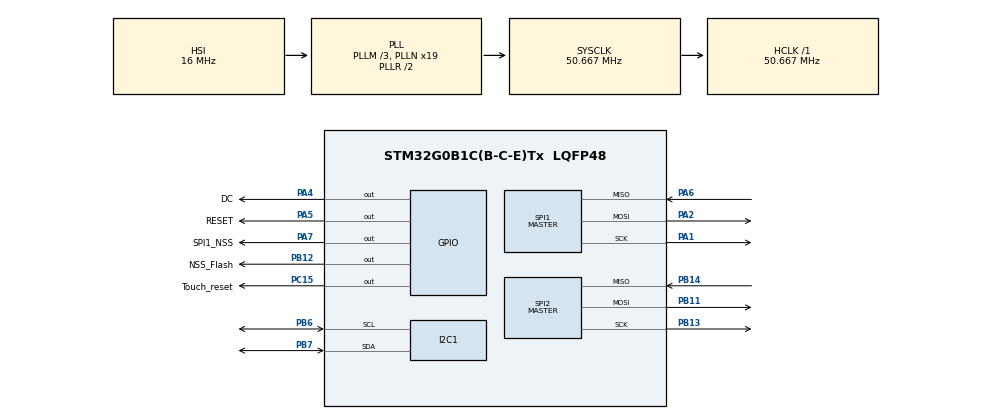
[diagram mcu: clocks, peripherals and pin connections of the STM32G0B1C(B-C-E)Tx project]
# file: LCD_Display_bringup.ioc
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Dma.Request0=SPI1_TX
Dma.SPI1_TX.0.Direction=DMA_MEMORY_TO_PERIPH
Dma.SPI1_TX.0.EventEnable=DISABLE
Dma.SPI1_TX.0.Instance=DMA2_Channel2
Dma.SPI1_TX.0.MemDataAlignment=DMA_MDATAALIGN_BYTE
Dma.SPI1_TX.0.MemInc=DMA_MINC_ENABLE
Dma.SPI1_TX.0.Mode=DMA_NORMAL
Dma.SPI1_TX.0.PeriphDataAlignment=DMA_PDATAALIGN_BYTE
Dma.SPI1_TX.0.PeriphInc=DMA_PINC_DISABLE
Dma.SPI1_TX.0.Polarity=HAL_DMAMUX_REQ_GEN_RISING
Dma.SPI1_TX.0.Priority=DMA_PRIORITY_MEDIUM
Dma.SPI1_TX.0.RequestNumber=1
Dma.SPI1_TX.0.SignalID=NONE
Dma.SPI1_TX.0.SyncEnable=DISABLE
Dma.SPI1_TX.0.SyncPolarity=HAL_DMAMUX_SYNC_NO_EVENT
Dma.SPI1_TX.0.SyncRequestNumber=1
Dma.SPI1_TX.0.SyncSignalID=NONE
I2C1.Timing=0x1080638F
Mcu.Family=STM32G0
Mcu.Name=STM32G0B1C(B-C-E)Tx
Mcu.Package=LQFP48
NVIC.DMA1_Ch4_7_DMA2_Ch1_5_DMAMUX1_OVR_IRQn=true\:0\:0\:false\:false\:true\:false\:true\:true
NVIC.SPI1_IRQn=true\:0\:0\:false\:false\:true\:true\:true\:true
NVIC.TIM2_IRQn=true\:0\:0\:false\:false\:true\:true\:true\:true
PA1.GPIO_Speed=GPIO_SPEED_FREQ_VERY_HIGH
PA1.Mode=Full_Duplex_Master
PA1.Signal=SPI1_SCK
PA2.GPIO_Speed=GPIO_SPEED_FREQ_VERY_HIGH
PA2.Mode=Full_Duplex_Master
PA2.Signal=SPI1_MOSI
PA4.GPIO_Label=DC
PA4.GPIO_Speed=GPIO_SPEED_FREQ_VERY_HIGH
PA4.Signal=GPIO_Output
PA5.GPIO_Label=RESET
PA5.GPIO_Speed=GPIO_SPEED_FREQ_VERY_HIGH
PA5.Signal=GPIO_Output
PA6.GPIO_Speed=GPIO_SPEED_FREQ_VERY_HIGH
PA6.Mode=Full_Duplex_Master
PA6.Signal=SPI1_MISO
PA7.GPIO_Label=SPI1_NSS
PA7.GPIO_Speed=GPIO_SPEED_FREQ_VERY_HIGH
PA7.PinState=GPIO_PIN_SET
PA7.Signal=GPIO_Output
PB11.Mode=Full_Duplex_Master
PB11.Signal=SPI2_MOSI
PB12.GPIO_Label=NSS_Flash
PB12.Signal=GPIO_Output
PB13.Mode=Full_Duplex_Master
PB13.Signal=SPI2_SCK
PB14.Mode=Full_Duplex_Master
PB14.Signal=SPI2_MISO
PB6.Mode=I2C
PB6.Signal=I2C1_SCL
PB7.Mode=I2C
PB7.Signal=I2C1_SDA
PC15-OSC32_OUT\ (PC15).GPIO_Label=Touch_reset
PC15-OSC32_OUT\ (PC15).Signal=GPIO_Output
ProjectManager.HeapSize=0x200
ProjectManager.StackSize=0x400
ProjectManager.TargetToolchain=STM32CubeIDE
RCC.ADCFreq_Value=50666666.666666664
RCC.AHBFreq_Value=50666666.666666664
RCC.CortexFreq_Value=50666666.666666664
RCC.EXTERNAL_CLOCK_VALUE=48000
RCC.HCLKFreq_Value=50666666.666666664
RCC.HSE_VALUE=8000000
RCC.HSI48_VALUE=48000000
RCC.HSI_VALUE=16000000
RCC.LSE_VALUE=32768
RCC.PLLM=RCC_PLLM_DIV3
RCC.PLLN=19
RCC.SYSCLKFreq_VALUE=50666666.666666664
RCC.SYSCLKSource=RCC_SYSCLKSOURCE_PLLCLK
RCC.USBFreq_Value=48000000
RCC.VCOOutputFreq_Value=101333333.33333333
SPI1.BaudRatePrescaler=SPI_BAUDRATEPRESCALER_4
SPI1.CalculateBaudRate=12.666666 MBits/s
SPI1.DataSize=SPI_DATASIZE_8BIT
SPI1.Direction=SPI_DIRECTION_2LINES
SPI1.Mode=SPI_MODE_MASTER
SPI1.VirtualType=VM_MASTER
SPI2.BaudRatePrescaler=SPI_BAUDRATEPRESCALER_4
SPI2.CalculateBaudRate=12.666666 MBits/s
SPI2.DataSize=SPI_DATASIZE_8BIT
SPI2.Direction=SPI_DIRECTION_2LINES
SPI2.Mode=SPI_MODE_MASTER
SPI2.VirtualType=VM_MASTER
STMicroelectronics.X-CUBE-TOUCHGFX.4.26.0.ApplicationCcGraphicsJjApplication=TouchGFXOoGenerator
STMicroelectronics.X-CUBE-TOUCHGFX.4.26.0.tgfx_buffering_strategy=Partial
STMicroelectronics.X-CUBE-TOUCHGFX.4.26.0.tgfx_custom_height=240
STMicroelectronics.X-CUBE-TOUCHGFX.4.26.0.tgfx_custom_width=320
STMicroelectronics.X-CUBE-TOUCHGFX.4.26.0.tgfx_datareader=Enabled
STMicroelectronics.X-CUBE-TOUCHGFX.4.26.0.tgfx_datareader_mem_size=2097152
STMicroelectronics.X-CUBE-TOUCHGFX.4.26.0_IsPackSelfContextualization=true
TIM2.Period=125000-1
TIM2.Prescaler=50-1
VP_CRC_VS_CRC.Mode=CRC_Activate
VP_STMicroelectronics.X-CUBE-TOUCHGFX_VS_GraphicsJjApplication_4.26.0.Mode=GraphicsJjApplication
VP_SYS_VS_DBSignals.Mode=DisableDeadBatterySignals
VP_TIM2_VS_ClockSourceINT.Mode=Internal
board=custom

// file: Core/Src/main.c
/* USER CODE BEGIN Header */
/**
  ******************************************************************************
  * @file           : main.c
  * @brief          : Main program body
  ******************************************************************************
  * @attention
  *
  * Copyright (c) 2025 STMicroelectronics.
  * All rights reserved.
  *
  * This software is licensed under terms that can be found in the LICENSE file
  * in the root directory of this software component.
  * If no LICENSE file comes with this software, it is provided AS-IS.
  *
  ******************************************************************************
  */
/* USER CODE END Header */
#include "main.h"
#include "app_touchgfx.h"

/* USER CODE BEGIN Includes */
#include "ili9341.h"
#include "ft6x06.h"
#include "w25q128.h"
#include "serial_data.h"
#include <stdlib.h>
/* USER CODE END Includes */

CRC_HandleTypeDef hcrc;

I2C_HandleTypeDef hi2c1;

SPI_HandleTypeDef hspi1;
SPI_HandleTypeDef hspi2;
DMA_HandleTypeDef hdma_spi1_tx;

TIM_HandleTypeDef htim2;

void SystemClock_Config(void);
static void MX_GPIO_Init(void);
static void MX_DMA_Init(void);
static void MX_SPI1_Init(void);
static void MX_CRC_Init(void);
static void MX_TIM2_Init(void);
static void MX_I2C1_Init(void);
static void MX_SPI2_Init(void);

/* USER CODE BEGIN 0 */
volatile serialData_t serialData;
volatile bool data_ready;
volatile bool data_reading;
static void mockUartData();
static float randFloat(float min, float max) {
    float scale = rand() / (float) RAND_MAX;   // 0.0 → 1.0
    return min + scale * (max - min);
}
/* USER CODE END 0 */

int main(void)
{

  /* MCU Configuration--------------------------------------------------------*/

  /* Reset of all peripherals, Initializes the Flash interface and the Systick. */
  HAL_Init();

  /* Configure the system clock */
  SystemClock_Config();

  /* Initialize all configured peripherals */
  MX_GPIO_Init();
  MX_DMA_Init();
  MX_SPI1_Init();
  MX_CRC_Init();
  MX_TIM2_Init();
  MX_I2C1_Init();
  MX_SPI2_Init();
  MX_TouchGFX_Init();
  /* USER CODE BEGIN 2 */
  HAL_TIM_Base_Start_IT(&htim2);
  ILI9341_Init();
  ft6x06_Init(0x70); // 0x30 >> 1 = 0x70
  ft6x06_TS_Start(0x70);
  W25Q_Reset();
  uint32_t ID = W25Q_ReadID();
  uint8_t tx[10] = "Hello";
  uint8_t rx[256] = "";
 // W25Q_Erase_Sector (0);
 // W25Q_Write_Page (0, 0, sizeof(tx), tx);
  W25Q_Read (2, 0, 256, rx);

  /* USER CODE END 2 */

  /* Infinite loop */
  while (1)
  {

  MX_TouchGFX_Process();
  }
}

void SystemClock_Config(void)
{
  RCC_OscInitTypeDef RCC_OscInitStruct = {0};
  RCC_ClkInitTypeDef RCC_ClkInitStruct = {0};

  /** Configure the main internal regulator output voltage
  */
  HAL_PWREx_ControlVoltageScaling(PWR_REGULATOR_VOLTAGE_SCALE1);

  /** Initializes the RCC Oscillators according to the specified parameters
  * in the RCC_OscInitTypeDef structure.
  */
  RCC_OscInitStruct.OscillatorType = RCC_OSCILLATORTYPE_HSI;
  RCC_OscInitStruct.HSIState = RCC_HSI_ON;
  RCC_OscInitStruct.HSIDiv = RCC_HSI_DIV1;
  RCC_OscInitStruct.HSICalibrationValue = RCC_HSICALIBRATION_DEFAULT;
  RCC_OscInitStruct.PLL.PLLState = RCC_PLL_ON;
  RCC_OscInitStruct.PLL.PLLSource = RCC_PLLSOURCE_HSI;
  RCC_OscInitStruct.PLL.PLLM = RCC_PLLM_DIV3;
  RCC_OscInitStruct.PLL.PLLN = 19;
  RCC_OscInitStruct.PLL.PLLP = RCC_PLLP_DIV2;
  RCC_OscInitStruct.PLL.PLLQ = RCC_PLLQ_DIV2;
  RCC_OscInitStruct.PLL.PLLR = RCC_PLLR_DIV2;
  if (HAL_RCC_OscConfig(&RCC_OscInitStruct) != HAL_OK)
  {
    Error_Handler();
  }

  /** Initializes the CPU, AHB and APB buses clocks
  */
  RCC_ClkInitStruct.ClockType = RCC_CLOCKTYPE_HCLK|RCC_CLOCKTYPE_SYSCLK
                              |RCC_CLOCKTYPE_PCLK1;
  RCC_ClkInitStruct.SYSCLKSource = RCC_SYSCLKSOURCE_PLLCLK;
  RCC_ClkInitStruct.AHBCLKDivider = RCC_SYSCLK_DIV1;
  RCC_ClkInitStruct.APB1CLKDivider = RCC_HCLK_DIV1;

  if (HAL_RCC_ClockConfig(&RCC_ClkInitStruct, FLASH_LATENCY_2) != HAL_OK)
  {
    Error_Handler();
  }
}

static void MX_CRC_Init(void)
{

  hcrc.Instance = CRC;
  hcrc.Init.DefaultPolynomialUse = DEFAULT_POLYNOMIAL_ENABLE;
  hcrc.Init.DefaultInitValueUse = DEFAULT_INIT_VALUE_ENABLE;
  hcrc.Init.InputDataInversionMode = CRC_INPUTDATA_INVERSION_NONE;
  hcrc.Init.OutputDataInversionMode = CRC_OUTPUTDATA_INVERSION_DISABLE;
  hcrc.InputDataFormat = CRC_INPUTDATA_FORMAT_BYTES;
  if (HAL_CRC_Init(&hcrc) != HAL_OK)
  {
    Error_Handler();
  }

}

static void MX_I2C1_Init(void)
{

  hi2c1.Instance = I2C1;
  hi2c1.Init.Timing = 0x1080638F;
  hi2c1.Init.OwnAddress1 = 0;
  hi2c1.Init.AddressingMode = I2C_ADDRESSINGMODE_7BIT;
  hi2c1.Init.DualAddressMode = I2C_DUALADDRESS_DISABLE;
  hi2c1.Init.OwnAddress2 = 0;
  hi2c1.Init.OwnAddress2Masks = I2C_OA2_NOMASK;
  hi2c1.Init.GeneralCallMode = I2C_GENERALCALL_DISABLE;
  hi2c1.Init.NoStretchMode = I2C_NOSTRETCH_DISABLE;
  if (HAL_I2C_Init(&hi2c1) != HAL_OK)
  {
    Error_Handler();
  }

  /** Configure Analogue filter
  */
  if (HAL_I2CEx_ConfigAnalogFilter(&hi2c1, I2C_ANALOGFILTER_ENABLE) != HAL_OK)
  {
    Error_Handler();
  }

  /** Configure Digital filter
  */
  if (HAL_I2CEx_ConfigDigitalFilter(&hi2c1, 0) != HAL_OK)
  {
    Error_Handler();
  }

}

static void MX_SPI1_Init(void)
{

  /* SPI1 parameter configuration*/
  hspi1.Instance = SPI1;
  hspi1.Init.Mode = SPI_MODE_MASTER;
  hspi1.Init.Direction = SPI_DIRECTION_2LINES;
  hspi1.Init.DataSize = SPI_DATASIZE_8BIT;
  hspi1.Init.CLKPolarity = SPI_POLARITY_LOW;
  hspi1.Init.CLKPhase = SPI_PHASE_1EDGE;
  hspi1.Init.NSS = SPI_NSS_SOFT;
  hspi1.Init.BaudRatePrescaler = SPI_BAUDRATEPRESCALER_4;
  hspi1.Init.FirstBit = SPI_FIRSTBIT_MSB;
  hspi1.Init.TIMode = SPI_TIMODE_DISABLE;
  hspi1.Init.CRCCalculation = SPI_CRCCALCULATION_DISABLE;
  hspi1.Init.CRCPolynomial = 7;
  hspi1.Init.CRCLength = SPI_CRC_LENGTH_DATASIZE;
  hspi1.Init.NSSPMode = SPI_NSS_PULSE_ENABLE;
  if (HAL_SPI_Init(&hspi1) != HAL_OK)
  {
    Error_Handler();
  }

}

static void MX_SPI2_Init(void)
{

  /* SPI2 parameter configuration*/
  hspi2.Instance = SPI2;
  hspi2.Init.Mode = SPI_MODE_MASTER;
  hspi2.Init.Direction = SPI_DIRECTION_2LINES;
  hspi2.Init.DataSize = SPI_DATASIZE_8BIT;
  hspi2.Init.CLKPolarity = SPI_POLARITY_LOW;
  hspi2.Init.CLKPhase = SPI_PHASE_1EDGE;
  hspi2.Init.NSS = SPI_NSS_SOFT;
  hspi2.Init.BaudRatePrescaler = SPI_BAUDRATEPRESCALER_4;
  hspi2.Init.FirstBit = SPI_FIRSTBIT_MSB;
  hspi2.Init.TIMode = SPI_TIMODE_DISABLE;
  hspi2.Init.CRCCalculation = SPI_CRCCALCULATION_DISABLE;
  hspi2.Init.CRCPolynomial = 7;
  hspi2.Init.CRCLength = SPI_CRC_LENGTH_DATASIZE;
  hspi2.Init.NSSPMode = SPI_NSS_PULSE_ENABLE;
  if (HAL_SPI_Init(&hspi2) != HAL_OK)
  {
    Error_Handler();
  }

}

static void MX_TIM2_Init(void)
{

  TIM_ClockConfigTypeDef sClockSourceConfig = {0};
  TIM_MasterConfigTypeDef sMasterConfig = {0};

  htim2.Instance = TIM2;
  htim2.Init.Prescaler = 50-1;
  htim2.Init.CounterMode = TIM_COUNTERMODE_UP;
  htim2.Init.Period = 125000-1;
  htim2.Init.ClockDivision = TIM_CLOCKDIVISION_DIV1;
  htim2.Init.AutoReloadPreload = TIM_AUTORELOAD_PRELOAD_DISABLE;
  if (HAL_TIM_Base_Init(&htim2) != HAL_OK)
  {
    Error_Handler();
  }
  sClockSourceConfig.ClockSource = TIM_CLOCKSOURCE_INTERNAL;
  if (HAL_TIM_ConfigClockSource(&htim2, &sClockSourceConfig) != HAL_OK)
  {
    Error_Handler();
  }
  sMasterConfig.MasterOutputTrigger = TIM_TRGO_RESET;
  sMasterConfig.MasterSlaveMode = TIM_MASTERSLAVEMODE_DISABLE;
  if (HAL_TIMEx_MasterConfigSynchronization(&htim2, &sMasterConfig) != HAL_OK)
  {
    Error_Handler();
  }

}

static void MX_DMA_Init(void)
{

  /* DMA controller clock enable */
  __HAL_RCC_DMA2_CLK_ENABLE();

  /* DMA interrupt init */
  /* DMA1_Ch4_7_DMA2_Ch1_5_DMAMUX1_OVR_IRQn interrupt configuration */
  HAL_NVIC_SetPriority(DMA1_Ch4_7_DMA2_Ch1_5_DMAMUX1_OVR_IRQn, 0, 0);
  HAL_NVIC_EnableIRQ(DMA1_Ch4_7_DMA2_Ch1_5_DMAMUX1_OVR_IRQn);

}

static void MX_GPIO_Init(void)
{
  GPIO_InitTypeDef GPIO_InitStruct = {0};

  /* GPIO Ports Clock Enable */
  __HAL_RCC_GPIOC_CLK_ENABLE();
  __HAL_RCC_GPIOA_CLK_ENABLE();
  __HAL_RCC_GPIOB_CLK_ENABLE();

  /*Configure GPIO pin Output Level */
  HAL_GPIO_WritePin(Touch_reset_GPIO_Port, Touch_reset_Pin, GPIO_PIN_RESET);

  /*Configure GPIO pin Output Level */
  HAL_GPIO_WritePin(GPIOA, DC_Pin|RESET_Pin, GPIO_PIN_RESET);

  /*Configure GPIO pin Output Level */
  HAL_GPIO_WritePin(SPI1_NSS_GPIO_Port, SPI1_NSS_Pin, GPIO_PIN_SET);

  /*Configure GPIO pin Output Level */
  HAL_GPIO_WritePin(NSS_Flash_GPIO_Port, NSS_Flash_Pin, GPIO_PIN_RESET);

  /*Configure GPIO pin : Touch_reset_Pin */
  GPIO_InitStruct.Pin = Touch_reset_Pin;
  GPIO_InitStruct.Mode = GPIO_MODE_OUTPUT_PP;
  GPIO_InitStruct.Pull = GPIO_NOPULL;
  GPIO_InitStruct.Speed = GPIO_SPEED_FREQ_LOW;
  HAL_GPIO_Init(Touch_reset_GPIO_Port, &GPIO_InitStruct);

  /*Configure GPIO pins : DC_Pin RESET_Pin SPI1_NSS_Pin */
  GPIO_InitStruct.Pin = DC_Pin|RESET_Pin|SPI1_NSS_Pin;
  GPIO_InitStruct.Mode = GPIO_MODE_OUTPUT_PP;
  GPIO_InitStruct.Pull = GPIO_NOPULL;
  GPIO_InitStruct.Speed = GPIO_SPEED_FREQ_VERY_HIGH;
  HAL_GPIO_Init(GPIOA, &GPIO_InitStruct);

  /*Configure GPIO pin : NSS_Flash_Pin */
  GPIO_InitStruct.Pin = NSS_Flash_Pin;
  GPIO_InitStruct.Mode = GPIO_MODE_OUTPUT_PP;
  GPIO_InitStruct.Pull = GPIO_NOPULL;
  GPIO_InitStruct.Speed = GPIO_SPEED_FREQ_LOW;
  HAL_GPIO_Init(NSS_Flash_GPIO_Port, &GPIO_InitStruct);

}

/* USER CODE BEGIN 4 */
/* USER CODE BEGIN 4 */
extern void touchgfxSignalVSync(void);

void HAL_TIM_PeriodElapsedCallback(TIM_HandleTypeDef *htim)
{
	if (htim->Instance == TIM2) {
		touchgfxSignalVSync();
	}
  static uint32_t counter = 0;
  counter++;
  if (counter >= 20) { // every 1 second
    counter = 0;
    mockUartData();
  }
}

static void mockUartData() {
	//while(data_reading) {}
		data_ready = false;
  serialData.batt_volt          = randFloat(42.0f, 54.0f);   // Example: 14s pack
    serialData.batt_current       = randFloat(-50.0f, 150.0f); // Charge/discharge
    serialData.soc                = randFloat(0.0f, 100.0f);
    serialData.soh                = randFloat(80.0f, 100.0f);

    serialData.cell_volt_max      = randFloat(3.0f, 4.2f);
    serialData.cell_volt_min      = randFloat(3.0f, 4.2f);

    serialData.cell_temp_max      = randFloat(20.0f, 60.0f);
    serialData.cell_temp_min      = randFloat(10.0f, 40.0f);

    serialData.mos_temp           = randFloat(20.0f, 80.0f);
    serialData.ambient_temp       = randFloat(10.0f, 45.0f);

    serialData.pack_capacity      = randFloat(40.0f, 60.0f);   // Ah
    serialData.remaining_capacity = randFloat(0.0f, serialData.pack_capacity);

    // Randomize all 16 cell voltages
    for (int i = 0; i < 16; i++) {
        serialData.cell_volt[i] = randFloat(3.0f, 4.2f);
        serialData.cell_temp[i] = randFloat(-20.0f, 60.0f);
    }

    // Settable limit is 4
    for (int i = 0; i < 4; i++) {
        serialData.settable_param[i] = 0;
    }

		data_ready = true;

}

/* USER CODE END 4 */

void Error_Handler(void)
{
  __disable_irq();
  while (1)
  {
  }
}
